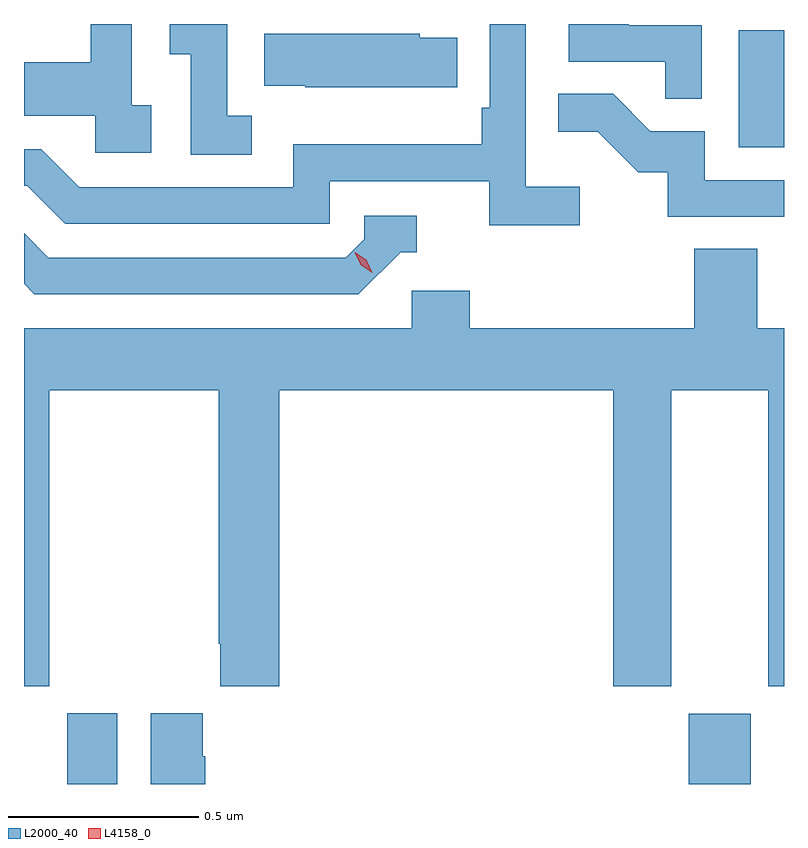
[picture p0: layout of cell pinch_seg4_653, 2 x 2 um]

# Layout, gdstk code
import gdstk
lib = gdstk.Library(unit=1e-6, precision=1e-09)
def R(c, l, rs):  # rectangles x0, y0, x1, y1
    for r in rs: c.add(gdstk.rectangle(r[:2], r[2:], *l))
def P(c, l, *ps):  # polygons
    for p in ps: c.add(gdstk.Polygon(p, *l))
L2000_40 = (2000, 40)
L4158_0 = (4158, 0)

pinch_seg4_653 = lib.new_cell('pinch_seg4_653')
R(pinch_seg4_653, L2000_40, [(1061.363,753.16,1061.494,753.346), (1062.998,753.16,1063.162,753.345), (1063.13,754.836,1063.249,755.143)])
P(pinch_seg4_653, L2000_40, [(1061.584,754.946),(1061.532,754.946),(1061.532,755.16),(1061.424,755.16),(1061.424,755.059),(1061.249,755.059),(1061.249,754.919),(1061.436,754.919),(1061.436,754.821),(1061.584,754.821)],
  [(1061.848,754.919),(1061.784,754.919),(1061.784,755.16),(1061.633,755.16),(1061.633,755.08),(1061.688,755.08),(1061.688,754.816),(1061.848,754.816)],
  [(1062.712,754.732),(1062.57,754.732),(1062.57,755.16),(1062.474,755.16),(1062.474,754.939),(1062.454,754.939),(1062.454,754.843),(1061.958,754.843),(1061.958,754.731),(1061.394,754.731),(1061.295,754.83),(1061.249,754.83),(1061.249,754.734),(1061.258,754.734),(1061.357,754.635),(1062.054,754.635),(1062.054,754.746),(1062.473,754.746),(1062.473,754.63),(1062.712,754.63)],
  [(1063.032,755.157),(1062.841,755.157),(1062.841,755.16),(1062.683,755.16),(1062.683,755.061),(1062.937,755.061),(1062.937,754.963),(1063.032,754.963)],
  [(1062.389,755.124),(1062.291,755.124),(1062.291,755.134),(1061.881,755.134),(1061.881,754.997),(1061.989,754.997),(1061.989,754.994),(1062.389,754.994)],
  [(1063.249,754.749),(1063.041,754.749),(1063.041,754.878),(1062.897,754.878),(1062.799,754.976),(1062.655,754.976),(1062.655,754.877),(1062.759,754.877),(1062.866,754.77),(1062.943,754.77),(1062.943,754.653),(1063.249,754.653)],
  [(1062.24,754.56),(1062.283,754.56),(1062.283,754.656),(1062.144,754.656),(1062.144,754.593),(1062.096,754.545),(1061.313,754.545),(1061.249,754.609),(1061.249,754.476),(1061.276,754.449),(1062.129,754.449)],
  [(1062.422,754.458),(1062.27,754.458),(1062.27,754.36),(1061.249,754.36),(1061.249,753.417),(1061.316,753.417),(1061.316,754.196),(1061.761,754.196),(1061.761,753.529),(1061.765,753.529),(1061.765,753.417),(1061.921,753.417),(1061.921,754.196),(1062.8,754.196),(1062.8,753.417),(1062.952,753.417),(1062.952,754.196),(1063.208,754.196),(1063.208,753.417),(1063.249,753.417),(1063.249,754.36),(1063.178,754.36),(1063.178,754.568),(1063.013,754.568),(1063.013,754.36),(1062.422,754.36)],
  [(1061.726,753.233),(1061.719,753.233),(1061.719,753.346),(1061.582,753.346),(1061.582,753.16),(1061.726,753.16)])
P(pinch_seg4_653, L4158_0, [(1062.166,754.505),(1062.135,754.526),(1062.119,754.559),(1062.119,754.559),(1062.12,754.559),(1062.15,754.539),(1062.166,754.506),(1062.166,754.505)])

lib.write_gds('pinch_seg4_653.gds')
